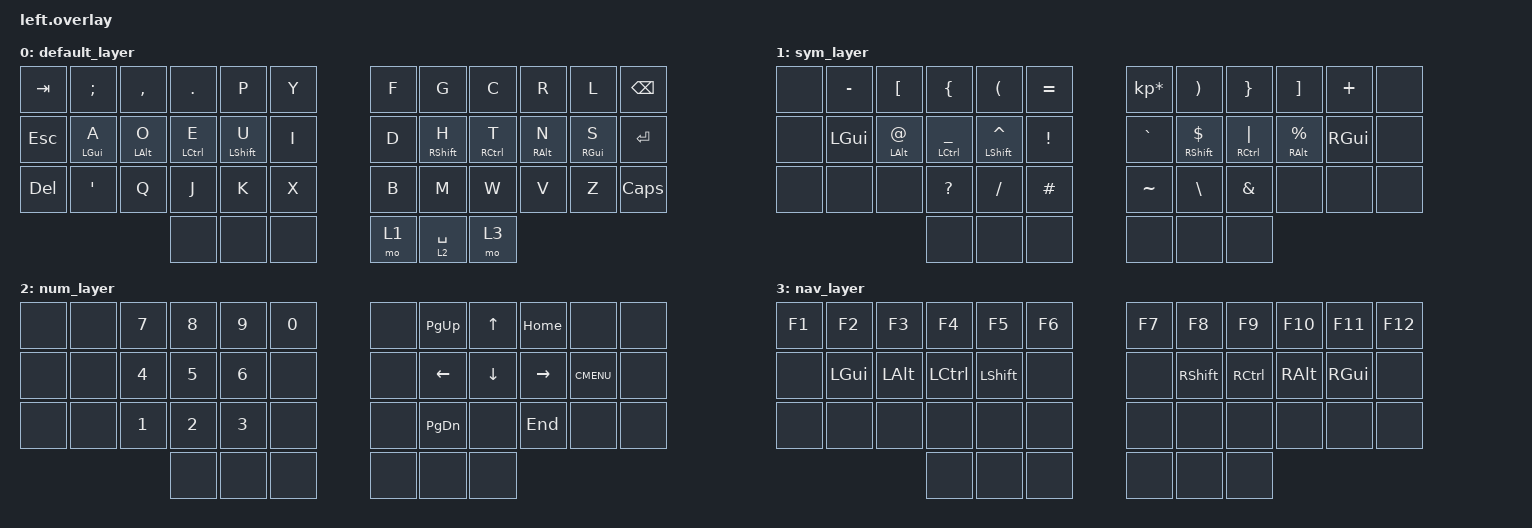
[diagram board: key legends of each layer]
#include <behaviors.dtsi>
#include <dt-bindings/zmk/keys.h>
#include <dt-bindings/zmk/bt.h>

&mt {
    flavor = "tap-preferred";
};

&lt {
    retro-tap;
};

#define _SFTCAR &mt LSHFT CARET
#define _MUL &kp KP_MULTIPLY
#define _SFTDOL &mt RSHFT DOLLAR
#define _CTLUND &mt LCTRL UNDER

/ {
	chosen {
		zmk,split-serial = &uart0;
	};

        keymap {
                compatible = "zmk,keymap";

                default_layer {
                        bindings = <                              /**/
   &kp TAB     &kp SEMI   &kp COMMA  &kp DOT     &kp P       &kp Y    &kp F &kp G       &kp C       &kp R      &kp L      &kp BSPC
   &kp ESC     &mt LGUI A &mt LALT O &mt LCTRL E &mt LSHFT U &kp I    &kp D &mt RSHFT H &mt RCTRL T &mt RALT N &mt RGUI S &kp RET
   &kp DEL     &kp SQT    &kp Q      &kp J       &kp K       &kp X    &kp B &kp M       &kp W       &kp V      &kp Z      &kp CAPS
                                     &none       &none       &none    &mo 1 &lt 2 SPACE  &mo 3
                        >;
                };

                sym_layer {
                        bindings = <                    /**/
&none &kp MINUS &kp LBKT    &kp LBRC  &kp LPAR &kp EQUAL    _MUL      &kp RPAR  &kp RBRC        &kp RBKT       &kp PLUS        &none
&none &kp LGUI  &mt LALT AT _CTLUND   _SFTCAR  &kp EXCL     &kp GRAVE _SFTDOL   &mt RCTRL PIPE  &mt RALT PRCNT &kp RGUI        &none
&none &none     &none       &kp QMARK &kp FSLH &kp HASH     &kp TILDE &kp BSLH  &kp AMPS        &none          &none           &none
                            &none     &none    &none        &none     &none     &none
                     >;
             };

                num_layer {
                        bindings = <      /**/
   &none &none &kp N7 &kp N8 &kp N9 &kp N0    &none  &kp PG_UP &kp UP   &kp HOME  &none       &none
   &none &none &kp N4 &kp N5 &kp N6 &none     &none  &kp LEFT  &kp DOWN &kp RIGHT &kp K_CMENU &none
   &none &none &kp N1 &kp N2 &kp N3 &none     &none  &kp PG_DN &none    &kp END   &none       &none
                      &none  &none  &none     &none  &none     &none
                        >;
                };

                nav_layer {
                        bindings = <            /**/
   &kp F1  &kp F2   &kp F3   &kp F4    &kp F5       &kp F6    &kp F7 &kp F8    &kp F9    &kp F10   &kp F11  &kp F12
   &none   &kp LGUI &kp LALT &kp LCTRL &kp LSHFT    &none     &none  &kp RSHFT &kp RCTRL &kp RALT  &kp RGUI &none
   &none   &none    &none    &none     &none        &none     &none  &none     &none     &none     &none    &none
                             &none     &none        &none     &none  &none     &none
                        >;
                };
        };

};

/delete-node/ &uart0_default;

&pinctrl {
	uart0_default: uart0_default {
		group1 {
			pinmux = <UART0_TX_P12>;
		};
		group2 {
			pinmux = <UART0_RX_P1>;
			input-enable;
		};
	};
};

&uart0 {
	current-speed = <115200>;
	status = "okay";
};
